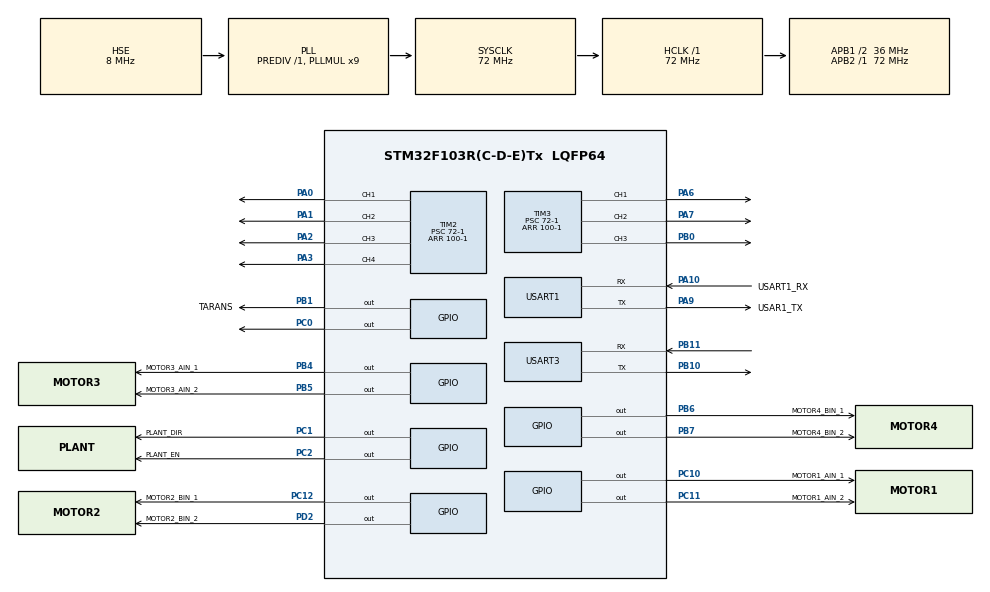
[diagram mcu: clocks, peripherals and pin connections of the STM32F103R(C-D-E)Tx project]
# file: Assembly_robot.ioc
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Mcu.Family=STM32F1
Mcu.Name=STM32F103R(C-D-E)Tx
Mcu.Package=LQFP64
NVIC.PriorityGroup=NVIC_PRIORITYGROUP_4
NVIC.USART1_IRQn=true\:1\:0\:true\:false\:true\:true\:true\:true
PA0-WKUP.Signal=S_TIM2_CH1_ETR
PA1.Signal=S_TIM2_CH2
PA10.GPIO_Label=USART1_RX
PA10.Mode=Asynchronous
PA10.Signal=USART1_RX
PA13.GPIO_Label=SWDIO
PA13.Mode=Serial_Wire
PA13.Signal=SYS_JTMS-SWDIO
PA14.GPIO_Label=SWCLK
PA14.Mode=Serial_Wire
PA14.Signal=SYS_JTCK-SWCLK
PA2.Signal=S_TIM2_CH3
PA3.Signal=S_TIM2_CH4
PA6.Signal=S_TIM3_CH1
PA7.Signal=S_TIM3_CH2
PA9.GPIO_Label=USAR1_TX
PA9.Mode=Asynchronous
PA9.Signal=USART1_TX
PB0.Signal=S_TIM3_CH3
PB1.GPIO_Label=TARANS 
PB1.GPIO_Speed=GPIO_SPEED_FREQ_HIGH
PB1.Signal=GPIO_Output
PB10.Mode=Asynchronous
PB10.Signal=USART3_TX
PB11.Mode=Asynchronous
PB11.Signal=USART3_RX
PB4.GPIO_Label=MOTOR3_AIN_1 
PB4.GPIO_Speed=GPIO_SPEED_FREQ_HIGH
PB4.Signal=GPIO_Output
PB5.GPIO_Label=MOTOR3_AIN_2 
PB5.GPIO_Speed=GPIO_SPEED_FREQ_HIGH
PB5.Signal=GPIO_Output
PB6.GPIO_Label=MOTOR4_BIN_1 
PB6.GPIO_Speed=GPIO_SPEED_FREQ_HIGH
PB6.Signal=GPIO_Output
PB7.GPIO_Label=MOTOR4_BIN_2 
PB7.GPIO_Speed=GPIO_SPEED_FREQ_HIGH
PB7.Signal=GPIO_Output
PC0.Signal=GPIO_Output
PC1.GPIO_Label=PLANT_DIR 
PC1.GPIO_Speed=GPIO_SPEED_FREQ_HIGH
PC1.Signal=GPIO_Output
PC10.GPIO_Label=MOTOR1_AIN_1
PC10.GPIO_Speed=GPIO_SPEED_FREQ_HIGH
PC10.Signal=GPIO_Output
PC11.GPIO_Label=MOTOR1_AIN_2
PC11.GPIO_PuPd=GPIO_NOPULL
PC11.GPIO_Speed=GPIO_SPEED_FREQ_HIGH
PC11.PinState=GPIO_PIN_RESET
PC11.Signal=GPIO_Output
PC12.GPIO_Label=MOTOR2_BIN_1
PC12.GPIO_ModeDefaultOutputPP=GPIO_MODE_OUTPUT_PP
PC12.GPIO_PuPd=GPIO_NOPULL
PC12.GPIO_Speed=GPIO_SPEED_FREQ_HIGH
PC12.Signal=GPIO_Output
PC14-OSC32_IN.Mode=LSE-External-Oscillator
PC14-OSC32_IN.Signal=RCC_OSC32_IN
PC15-OSC32_OUT.Mode=LSE-External-Oscillator
PC15-OSC32_OUT.Signal=RCC_OSC32_OUT
PC2.GPIO_Label=PLANT_EN 
PC2.GPIO_PuPd=GPIO_PULLUP
PC2.GPIO_Speed=GPIO_SPEED_FREQ_HIGH
PC2.PinState=GPIO_PIN_SET
PC2.Signal=GPIO_Output
PD0-OSC_IN.Mode=HSE-External-Oscillator
PD0-OSC_IN.Signal=RCC_OSC_IN
PD1-OSC_OUT.Mode=HSE-External-Oscillator
PD1-OSC_OUT.Signal=RCC_OSC_OUT
PD2.GPIO_Label=MOTOR2_BIN_2 
PD2.GPIO_Speed=GPIO_SPEED_FREQ_HIGH
PD2.Signal=GPIO_Output
ProjectManager.HeapSize=0x200
ProjectManager.StackSize=0x400
ProjectManager.TargetToolchain=MDK-ARM V5.32
RCC.AHBFreq_Value=72000000
RCC.APB1CLKDivider=RCC_HCLK_DIV2
RCC.APB1Freq_Value=36000000
RCC.APB1TimFreq_Value=72000000
RCC.APB2Freq_Value=72000000
RCC.APB2TimFreq_Value=72000000
RCC.HCLKFreq_Value=72000000
RCC.PLLMUL=RCC_PLL_MUL9
RCC.PLLSourceVirtual=RCC_PLLSOURCE_HSE
RCC.SYSCLKFreq_VALUE=72000000
RCC.SYSCLKSource=RCC_SYSCLKSOURCE_PLLCLK
RCC.USBFreq_Value=48000000
RCC.USBPrescaler=RCC_USBCLKSOURCE_PLL_DIV1_5
SH.S_TIM2_CH1_ETR.0=TIM2_CH1,PWM Generation1 CH1
SH.S_TIM2_CH2.0=TIM2_CH2,PWM Generation2 CH2
SH.S_TIM2_CH3.0=TIM2_CH3,PWM Generation3 CH3
SH.S_TIM2_CH4.0=TIM2_CH4,PWM Generation4 CH4
SH.S_TIM3_CH1.0=TIM3_CH1,PWM Generation1 CH1
SH.S_TIM3_CH2.0=TIM3_CH2,PWM Generation2 CH2
SH.S_TIM3_CH3.0=TIM3_CH3,PWM Generation3 CH3
TIM2.Channel-PWM\ Generation1\ CH1=TIM_CHANNEL_1
TIM2.Channel-PWM\ Generation2\ CH2=TIM_CHANNEL_2
TIM2.Channel-PWM\ Generation3\ CH3=TIM_CHANNEL_3
TIM2.Channel-PWM\ Generation4\ CH4=TIM_CHANNEL_4
TIM2.Period=100-1
TIM2.Prescaler=72-1
TIM2.Pulse-PWM\ Generation1\ CH1=0
TIM2.Pulse-PWM\ Generation2\ CH2=0
TIM2.Pulse-PWM\ Generation3\ CH3=0
TIM2.Pulse-PWM\ Generation4\ CH4=0
TIM3.Channel-PWM\ Generation1\ CH1=TIM_CHANNEL_1
TIM3.Channel-PWM\ Generation2\ CH2=TIM_CHANNEL_2
TIM3.Channel-PWM\ Generation3\ CH3=TIM_CHANNEL_3
TIM3.Period=100-1
TIM3.Prescaler=72-1
USART1.VirtualMode=VM_ASYNC
USART3.VirtualMode=VM_ASYNC
VP_TIM2_VS_ClockSourceINT.Mode=Internal
VP_TIM3_VS_ClockSourceINT.Mode=Internal
board=custom

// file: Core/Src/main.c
/* USER CODE BEGIN Header */
/**
  ******************************************************************************
  * @file           : main.c
  * @brief          : Main program body
  ******************************************************************************
  * @attention
  *
  * Copyright (c) 2024 STMicroelectronics.
  * All rights reserved.
  *
  * This software is licensed under terms that can be found in the LICENSE file
  * in the root directory of this software component.
  * If no LICENSE file comes with this software, it is provided AS-IS.
  *
  ******************************************************************************
  */
/* USER CODE END Header */
#include "main.h"
#include "tim.h"
#include "usart.h"
#include "gpio.h"
#include "led.h"
#include "motor.h"
#include "control.h"

/* USER CODE BEGIN PV */
/*
J1 大臂步进电机角度
J2 小臂步进电机角度
J3 底部旋转步进电机角度
J4 底部平移步进电机角度
J5 夹取舵机角度
J6 旋转舵机角度*/
uint16_t J0,J1,J2,J3,J4,J5,J6;
uint8_t RX_Data[10] = {0};
uint8_t TRANS_State;
uint16_t PLANT;
/* USER CODE END PV */

void SystemClock_Config(void);

int main(void)
{

  /* MCU Configuration--------------------------------------------------------*/

  /* Reset of all peripherals, Initializes the Flash interface and the Systick. */
  HAL_Init();

  /* USER CODE BEGIN Init */
	HAL_UART_Receive_IT(&huart1, RX_Data ,sizeof(RX_Data));
  /* USER CODE END Init */

  /* Configure the system clock */
  SystemClock_Config();

  /* Initialize all configured peripherals */
  MX_GPIO_Init();
  MX_TIM2_Init();
	MX_TIM3_Init();
	MX_MOTOR_Init();
  MX_USART1_UART_Init();
  MX_USART3_UART_Init();
	MX_SERVO_Init();
  /* USER CODE BEGIN 2 */
	MX_LED_Init();
  /* USER CODE END 2 */
//	MX_MOTOR_Angle(MOTOR
  /* Infinite loop */
  /* USER CODE BEGIN WHILE */
  while (1)
  {
//		HAL_GPIO_WritePin(LED_Port,LED_Pin,GPIO_PIN_SET);
		HAL_Delay(1000);
		MOTOR1_Angle(J1);
		MOTOR2_Angle(J2);
		MOTOR3_Angle(J3);
		MOTOR4_Angle(J4);
		TRANSE_Control(TRANS_State);
		PLANT_Angle(PLANT);
		Servo1_Angle(J5);
		Servo2_Angle(J6);
		HAL_Delay(1000);
		HAL_GPIO_WritePin(LED_Port,LED_Pin,GPIO_PIN_RESET);
		HAL_Delay(1000);
    /* USER CODE END WHILE */

  }
}

void SystemClock_Config(void)
{
  RCC_OscInitTypeDef RCC_OscInitStruct = {0};
  RCC_ClkInitTypeDef RCC_ClkInitStruct = {0};

  /** Initializes the RCC Oscillators according to the specified parameters
  * in the RCC_OscInitTypeDef structure.
  */
  RCC_OscInitStruct.OscillatorType = RCC_OSCILLATORTYPE_HSE;
  RCC_OscInitStruct.HSEState = RCC_HSE_ON;
  RCC_OscInitStruct.HSEPredivValue = RCC_HSE_PREDIV_DIV1;
  RCC_OscInitStruct.HSIState = RCC_HSI_ON;
  RCC_OscInitStruct.PLL.PLLState = RCC_PLL_ON;
  RCC_OscInitStruct.PLL.PLLSource = RCC_PLLSOURCE_HSE;
  RCC_OscInitStruct.PLL.PLLMUL = RCC_PLL_MUL9;
  if (HAL_RCC_OscConfig(&RCC_OscInitStruct) != HAL_OK)
  {
    Error_Handler();
  }

  /** Initializes the CPU, AHB and APB buses clocks
  */
  RCC_ClkInitStruct.ClockType = RCC_CLOCKTYPE_HCLK|RCC_CLOCKTYPE_SYSCLK
                              |RCC_CLOCKTYPE_PCLK1|RCC_CLOCKTYPE_PCLK2;
  RCC_ClkInitStruct.SYSCLKSource = RCC_SYSCLKSOURCE_PLLCLK;
  RCC_ClkInitStruct.AHBCLKDivider = RCC_SYSCLK_DIV1;
  RCC_ClkInitStruct.APB1CLKDivider = RCC_HCLK_DIV2;
  RCC_ClkInitStruct.APB2CLKDivider = RCC_HCLK_DIV1;

  if (HAL_RCC_ClockConfig(&RCC_ClkInitStruct, FLASH_LATENCY_2) != HAL_OK)
  {
    Error_Handler();
  }
}

void Error_Handler(void)
{
  __disable_irq();
  while (1)
  {
  }
}
